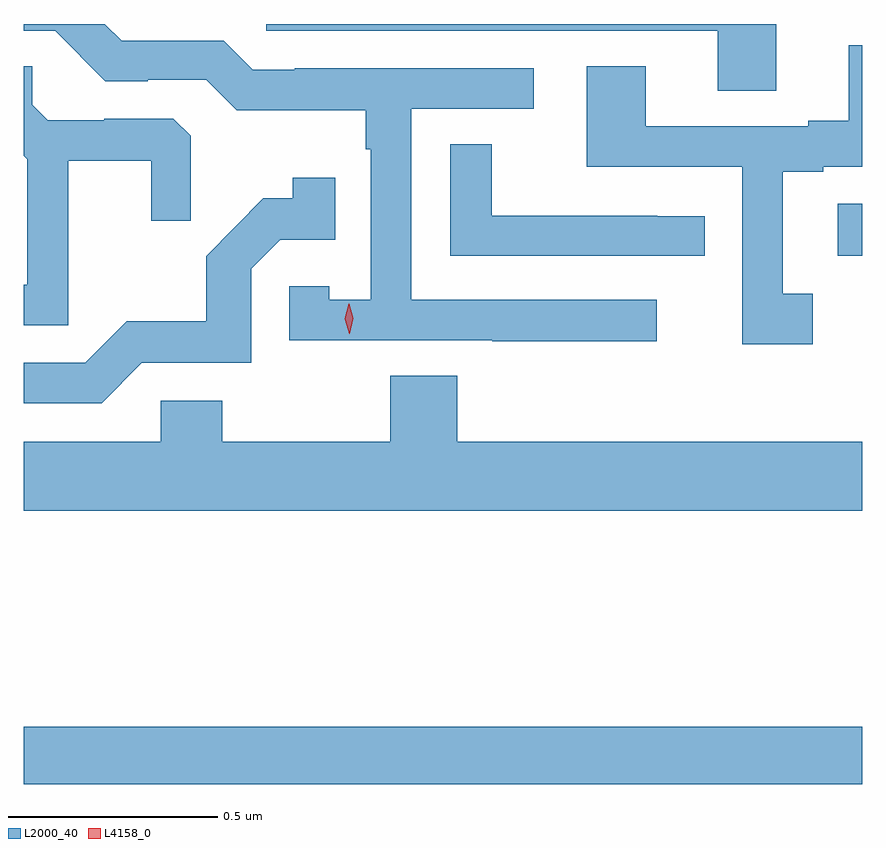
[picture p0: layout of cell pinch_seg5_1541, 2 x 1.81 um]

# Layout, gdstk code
import gdstk
lib = gdstk.Library(unit=1e-6, precision=1e-09)
def R(c, l, rs):  # rectangles x0, y0, x1, y1
    for r in rs: c.add(gdstk.rectangle(r[:2], r[2:], *l))
def P(c, l, *ps):  # polygons
    for p in ps: c.add(gdstk.Polygon(p, *l))
L2000_40 = (2000, 40)
L4158_0 = (4158, 0)

pinch_seg5_1541 = lib.new_cell('pinch_seg5_1541')
R(pinch_seg5_1541, L2000_40, [(210.522,893.404,212.522,893.54), (212.463,894.663,212.522,894.787)])
P(pinch_seg5_1541, L2000_40, [(212.032,894.558),(211.446,894.558),(211.446,895.014),(211.738,895.014),(211.738,895.11),(211.168,895.11),(211.168,895.107),(211.068,895.107),(210.999,895.176),(210.756,895.176),(210.716,895.216),(210.522,895.216),(210.522,895.2),(210.597,895.2),(210.717,895.08),(210.818,895.08),(210.818,895.083),(210.957,895.083),(211.03,895.01),(211.338,895.01),(211.338,894.917),(211.35,894.917),(211.35,894.559),(211.251,894.559),(211.251,894.591),(211.155,894.591),(211.155,894.462),(211.639,894.462),(211.639,894.46),(212.032,894.46)],
  [(212.317,895.216),(211.101,895.216),(211.101,895.2),(212.177,895.2),(212.177,895.057),(212.317,895.057)],
  [(212.404,894.573),(212.332,894.573),(212.332,894.864),(212.428,894.864),(212.428,894.876),(212.522,894.876),(212.522,895.165),(212.489,895.165),(212.489,894.985),(212.393,894.985),(212.393,894.972),(212.005,894.972),(212.005,895.115),(211.865,895.115),(211.865,894.876),(212.235,894.876),(212.235,894.453),(212.404,894.453)],
  [(210.629,894.89),(210.826,894.89),(210.826,894.747),(210.92,894.747),(210.92,894.949),(210.879,894.99),(210.714,894.99),(210.714,894.987),(210.58,894.987),(210.543,895.024),(210.543,895.115),(210.522,895.115),(210.522,894.902),(210.531,894.893),(210.531,894.594),(210.522,894.594),(210.522,894.498),(210.629,894.498)],
  [(212.146,894.758),(212.033,894.758),(212.033,894.759),(211.638,894.759),(211.638,894.929),(211.539,894.929),(211.539,894.663),(212.146,894.663)],
  [(210.804,894.408),(211.065,894.408),(211.065,894.633),(211.134,894.702),(211.265,894.702),(211.265,894.85),(211.164,894.85),(211.164,894.8),(211.094,894.8),(210.957,894.662),(210.957,894.507),(210.768,894.507),(210.669,894.408),(210.522,894.408),(210.522,894.312),(210.708,894.312)],
  [(212.522,894.22),(211.556,894.22),(211.556,894.377),(211.396,894.377),(211.396,894.22),(210.996,894.22),(210.996,894.318),(210.849,894.318),(210.849,894.22),(210.522,894.22),(210.522,894.056),(212.522,894.056)])
P(pinch_seg5_1541, L4158_0, [(211.299,894.477),(211.299,894.477),(211.288,894.513),(211.297,894.549),(211.297,894.549),(211.298,894.549),(211.308,894.514),(211.3,894.477)])

lib.write_gds('pinch_seg5_1541.gds')
